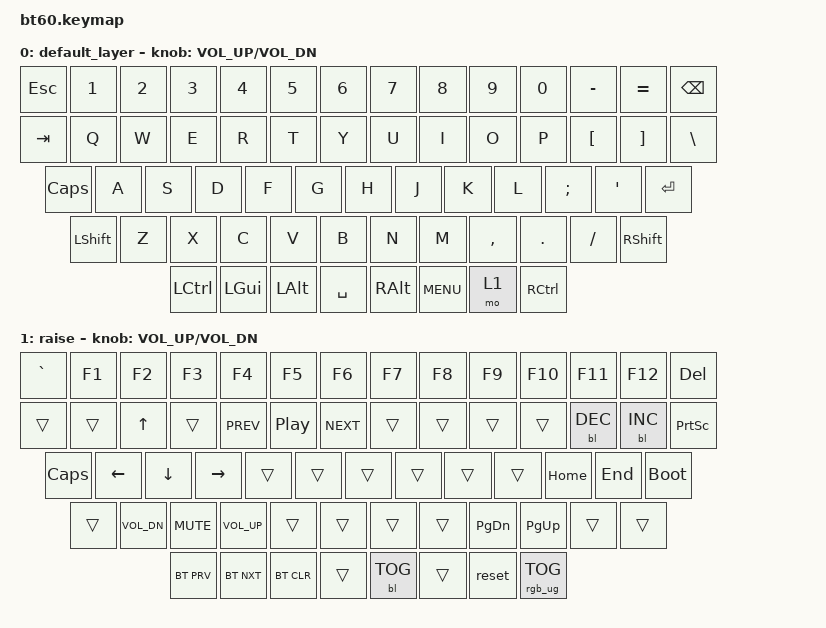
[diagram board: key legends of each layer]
#include <behaviors.dtsi>
#include <dt-bindings/zmk/keys.h>
#include <dt-bindings/zmk/bt.h>
#include <dt-bindings/zmk/rgb.h>
#include <dt-bindings/zmk/backlight.h>

/ {
	keymap {
		compatible = "zmk,keymap";

		default_layer {
				// ------------------------------------------------------------------------------------------
				// |  `  |  1  |  2  |  3  |  4  |  5  |  6  |  7  |  8  |  9  |  0  |  -  |  =  |   BKSP
				// | TAB  |  Q  |  W  |  E  |  R  |  T  |  Y  |  U  |  I  |  O  |  P  |  [  |  ]  |   |
				// | CAPS  |  A  |  S  |  D  |  F  |  G  |  H  |  J  |  K  |  L  |  ;  |  '  |     ENTER
				// |  SHIFT    |  Z  |  X  |  C  |  V  |  B  |  N  |  M  |  ,  |  .  | /   |      SHIFT
				// |  CTL  |  WIN  |  ALT  |            SPACE               | ALT | 1    |  MENU    |  CTRL
				// ------------------------------------------------------------------------------------------
			bindings = <

				&kp ESC &kp N1 &kp N2 &kp N3 &kp N4 &kp N5 &kp N6 &kp N7 &kp  N8   &kp  N9 &kp  N0  &kp MINUS &kp EQUAL &kp BSPC
				&kp TAB  &kp Q  &kp W  &kp E  &kp R  &kp T  &kp Y  &kp U  &kp  I    &kp  O  &kp  P   &kp LBKT &kp RBKT   &kp BSLH
				&kp CAPS  &kp A  &kp S  &kp D  &kp F  &kp G  &kp H  &kp J  &kp  K    &kp  L  &kp SEMI &kp SQT            &kp RET
				&kp LSHFT  &kp Z  &kp X  &kp C  &kp V  &kp B  &kp N  &kp M  &kp COMMA &kp DOT &kp FSLH                   &kp RSHFT
				&kp LCTRL &kp LGUI &kp LALT            &kp SPACE                          &kp RALT &kp C_MENU   &mo 1  &kp RCTRL
			>;
			sensor-bindings = <&inc_dec_kp C_VOL_UP C_VOL_DN>;
		};
		raise {
			bindings = <
				&kp GRAVE &kp F1 &kp F2 &kp F3 &kp F4 &kp F5 &kp F6 &kp F7 &kp F8 &kp F9 &kp F10 &kp F11 &kp F12 &kp DEL
				&trans &trans &kp UP &trans &kp C_PREV &kp C_PP &kp C_NEXT &trans &trans &trans &trans &bl BL_DEC &bl BL_INC &kp PSCRN
				&kp CAPS    &kp LEFT &kp DOWN &kp RIGHT &trans &trans &trans &trans &trans &trans &kp HOME  &kp END   &bootloader
				&trans &kp C_VOL_DN &kp C_MUTE &kp C_VOL_UP &trans &trans &trans &trans &kp PG_DN &kp PG_UP &trans  &trans
				&bt BT_PRV &bt BT_NXT  &bt BT_CLR              &trans                            &bl BL_TOG   &trans   &reset &rgb_ug RGB_TOG
			>;
			sensor-bindings = <&inc_dec_kp C_VOL_UP C_VOL_DN>;
		};
	};
};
